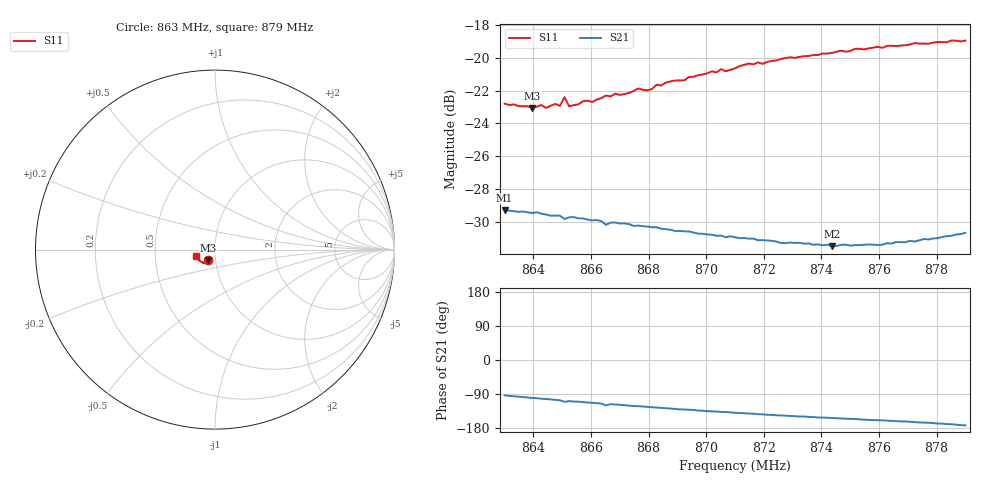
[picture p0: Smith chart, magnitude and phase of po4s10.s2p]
# HZ S RI R 50
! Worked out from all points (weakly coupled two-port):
!   101 points, 863 MHz to 879 MHz, reference 50 ohm
!   highest |S21| = -29.29 dB at 863 MHz (marker M1); lowest = -31.5 dB at 874.36 MHz (marker M2)
!   lowest |S11| = -23.1 dB at 863.96 MHz (marker M3), VSWR 1.15, Z = 46.1 - j5.54 ohm
!   |S11| at or under -10 dB: start of sweep to end of sweep
!   S12 and S22 are empty: the file has one direction only
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8.63e8  -0.0411 -0.0598  -0.00194 -0.0343  0 0  0 0
8.6396e8  -0.0371 -0.0598  -0.006 -0.0331  0 0  0 0
8.6428e8  -0.0368 -0.0617  -0.00715 -0.0327  0 0  0 0
8.6444e8  -0.0356 -0.0606  -0.00749 -0.0324  0 0  0 0
8.6476e8  -0.0365 -0.0625  -0.0087 -0.0319  0 0  0 0
8.6492e8  -0.0361 -0.0616  -0.00922 -0.0317  0 0  0 0
8.6508e8  -0.0417 -0.0634  -0.0112 -0.0303  0 0  0 0
8.6524e8  -0.0351 -0.062  -0.0103 -0.031  0 0  0 0
8.6572e8  -0.0357 -0.0646  -0.0116 -0.0303  0 0  0 0
8.6604e8  -0.0354 -0.0643  -0.0124 -0.0294  0 0  0 0
8.6652e8  -0.0369 -0.0673  -0.0154 -0.0269  0 0  0 0
8.6684e8  -0.0375 -0.0681  -0.0145 -0.028  0 0  0 0
8.6716e8  -0.0372 -0.068  -0.0153 -0.0273  0 0  0 0
8.6764e8  -0.0394 -0.0705  -0.0163 -0.0261  0 0  0 0
8.6796e8  -0.0394 -0.0692  -0.017 -0.0254  0 0  0 0
8.6844e8  -0.0414 -0.0712  -0.0179 -0.0242  0 0  0 0
8.71e8  -0.0562 -0.074  -0.0215 -0.0186  0 0  0 0
8.7148e8  -0.0595 -0.0755  -0.0219 -0.0176  0 0  0 0
8.7372e8  -0.0743 -0.07  -0.0234 -0.0132  0 0  0 0
8.7436e8  -0.0799 -0.0659  -0.0238 -0.0121  0 0  0 0
8.7644e8  -0.0939 -0.0554  -0.0256 -0.00897  0 0  0 0
8.79e8  -0.1078 -0.0337  -0.029 -0.00381  0 0  0 0
